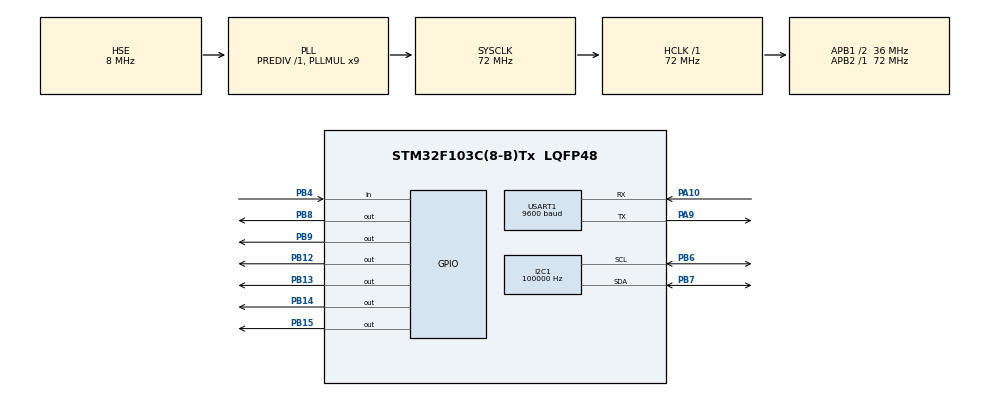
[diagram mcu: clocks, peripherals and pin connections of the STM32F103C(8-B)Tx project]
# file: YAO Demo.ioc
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I2C1.ClockSpeed=100000
I2C1.I2C_Mode=I2C_Fast
Mcu.Family=STM32F1
Mcu.Name=STM32F103C(8-B)Tx
Mcu.Package=LQFP48
NVIC.PriorityGroup=NVIC_PRIORITYGROUP_4
NVIC.USART1_IRQn=true\:0\:0\:false\:false\:true\:true\:true\:true
PA10.Mode=Asynchronous
PA10.Signal=USART1_RX
PA13.Mode=Serial_Wire
PA13.Signal=SYS_JTMS-SWDIO
PA14.Mode=Serial_Wire
PA14.Signal=SYS_JTCK-SWCLK
PA9.Mode=Asynchronous
PA9.Signal=USART1_TX
PB12.GPIO_PuPd=GPIO_PULLUP
PB12.GPIO_Speed=GPIO_SPEED_FREQ_HIGH
PB12.PinState=GPIO_PIN_SET
PB12.Signal=GPIO_Output
PB13.GPIO_PuPd=GPIO_PULLUP
PB13.GPIO_Speed=GPIO_SPEED_FREQ_HIGH
PB13.PinState=GPIO_PIN_SET
PB13.Signal=GPIO_Output
PB14.GPIO_PuPd=GPIO_PULLUP
PB14.GPIO_Speed=GPIO_SPEED_FREQ_HIGH
PB14.PinState=GPIO_PIN_SET
PB14.Signal=GPIO_Output
PB15.GPIO_PuPd=GPIO_PULLUP
PB15.GPIO_Speed=GPIO_SPEED_FREQ_HIGH
PB15.PinState=GPIO_PIN_SET
PB15.Signal=GPIO_Output
PB4.GPIO_PuPd=GPIO_PULLUP
PB4.Signal=GPIO_Input
PB6.Mode=I2C
PB6.Signal=I2C1_SCL
PB7.Mode=I2C
PB7.Signal=I2C1_SDA
PB8.PinState=GPIO_PIN_RESET
PB8.Signal=GPIO_Output
PB9.PinState=GPIO_PIN_SET
PB9.Signal=GPIO_Output
PC14-OSC32_IN.Mode=LSE-External-Oscillator
PC14-OSC32_IN.Signal=RCC_OSC32_IN
PC15-OSC32_OUT.Mode=LSE-External-Oscillator
PC15-OSC32_OUT.Signal=RCC_OSC32_OUT
PD0-OSC_IN.Mode=HSE-External-Oscillator
PD0-OSC_IN.Signal=RCC_OSC_IN
PD1-OSC_OUT.Mode=HSE-External-Oscillator
PD1-OSC_OUT.Signal=RCC_OSC_OUT
ProjectManager.HeapSize=0x200
ProjectManager.StackSize=0x400
ProjectManager.TargetToolchain=MDK-ARM V5.32
RCC.AHBFreq_Value=72000000
RCC.APB1CLKDivider=RCC_HCLK_DIV2
RCC.APB1Freq_Value=36000000
RCC.APB1TimFreq_Value=72000000
RCC.APB2Freq_Value=72000000
RCC.APB2TimFreq_Value=72000000
RCC.HCLKFreq_Value=72000000
RCC.PLLMUL=RCC_PLL_MUL9
RCC.PLLSourceVirtual=RCC_PLLSOURCE_HSE
RCC.SYSCLKFreq_VALUE=72000000
RCC.SYSCLKSource=RCC_SYSCLKSOURCE_PLLCLK
RCC.USBFreq_Value=72000000
TIM2.Prescaler=71
USART1.BaudRate=9600
USART1.VirtualMode=VM_ASYNC
VP_TIM2_VS_ClockSourceINT.Mode=Internal
board=custom

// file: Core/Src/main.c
/* USER CODE BEGIN Header */
/**
  ******************************************************************************
  * @file           : main.c
  * @brief          : Main program body
  ******************************************************************************
  * @attention
  *
  * Copyright (c) 2026 STMicroelectronics.
  * All rights reserved.
  *
  * This software is licensed under terms that can be found in the LICENSE file
  * in the root directory of this software component.
  * If no LICENSE file comes with this software, it is provided AS-IS.
  *
  ******************************************************************************
  */
/* USER CODE END Header */
#include "main.h"
#include "i2c.h"
#include "tim.h"
#include "usart.h"
#include "gpio.h"

/* USER CODE BEGIN Includes */
#include "buzzer.h"
#include "mpu6050.h"
#include "math.h"
#include "i2c.h"
#include "oled_ssd1315.h"
#include "stdio.h"
#include "usart.h"
/* USER CODE END Includes */

/* USER CODE BEGIN PD */
#define ANGLE_MAX  45.0f

enum {
    FRAME_HEAD = 0,
    TEMP = 1,
    HUMIDITY = 2,
    ANGLE = 3,
    LIGHT = 4,
    KETING_LIGHT = 5,
    WOSHI_LIGHT = 6,
    KONGTIAO_STA = 7,
    ALARM_STA = 8,
    FRAME_TAIL = 9
};
/* USER CODE END PD */

/* USER CODE BEGIN PV */
float pitch, roll;
uint8_t report_dat[10] = {0};
static uint8_t recv_buffer[10];
static uint8_t recv_index = 0;
static uint8_t recv_state = 0;

/* USER CODE END PV */

void SystemClock_Config(void);

/* USER CODE BEGIN 0 */

void uart_recv_byte(uint8_t dat)
{
    switch(recv_state)
    {
        case 0:
            if(dat == 0xff)
            {
                recv_state = 1;
                recv_index = 0;
                recv_buffer[recv_index++] = dat;
            }
            break;
        case 1:
            recv_buffer[recv_index++] = dat;
            if(recv_index >= 10)
            {
                if(recv_buffer[9] == 0xaa)
                {
                    uint8_t cmd = recv_buffer[1];
                    switch(cmd)
                    {
                        case 0x02:
                            HAL_GPIO_WritePin(GPIOB, GPIO_PIN_12, GPIO_PIN_RESET);
                            report_dat[KETING_LIGHT] = 0;
                            break;
                        case 0x03:
                            HAL_GPIO_WritePin(GPIOB, GPIO_PIN_12, GPIO_PIN_SET);
                            report_dat[KETING_LIGHT] = 1;
                            break;
                        case 0x04:
                            HAL_GPIO_WritePin(GPIOB, GPIO_PIN_13, GPIO_PIN_RESET);
                            report_dat[WOSHI_LIGHT] = 0;
                            break;
                        case 0x05:
                            HAL_GPIO_WritePin(GPIOB, GPIO_PIN_13, GPIO_PIN_SET);
                            report_dat[WOSHI_LIGHT] = 1;
                            break;
                        case 0x06:
                            HAL_GPIO_WritePin(GPIOB, GPIO_PIN_14, GPIO_PIN_RESET);
                            report_dat[KONGTIAO_STA] = 0;
                            break;
                        case 0x07:
                            HAL_GPIO_WritePin(GPIOB, GPIO_PIN_14, GPIO_PIN_SET);
                            report_dat[KONGTIAO_STA] = 1;
                            break;
                        case 0x08:
                            HAL_GPIO_WritePin(GPIOB, GPIO_PIN_15, GPIO_PIN_RESET);
                            report_dat[ALARM_STA] = 0;
                            break;
                        case 0x09:
                            HAL_GPIO_WritePin(GPIOB, GPIO_PIN_15, GPIO_PIN_SET);
                            report_dat[ALARM_STA] = 1;
                            break;
                    }
                }
                recv_state = 0;
                recv_index = 0;
            }
            break;
    }
}

void send_report_frame(void)
{
    report_dat[FRAME_HEAD] = 0xff;
    report_dat[TEMP] = 0x00;
    report_dat[HUMIDITY] = 0x00;
    report_dat[LIGHT] = 0x00;
    report_dat[FRAME_TAIL] = 0xaa;

    HAL_UART_Transmit(&huart1, report_dat, 10, 100);
}

/* USER CODE END 0 */

int main(void)
{

  /* MCU Configuration--------------------------------------------------------*/

  /* Reset of all peripherals, Initializes the Flash interface and the Systick. */
  HAL_Init();

  /* Configure the system clock */
  SystemClock_Config();

  /* Initialize all configured peripherals */
  MX_GPIO_Init();
  MX_I2C1_Init();
  MX_TIM2_Init();
  MX_USART1_UART_Init();
  /* USER CODE BEGIN 2 */
  uint8_t mpu_init_ret;

  Buzzer_Init();
  OLED_SSD1315_Init();

  OLED_SSD1315_full(0x00);
  OLED_SSD1315_ShowString(0, 0, (uint8_t*)"Init MPU6050...", 8);
  HAL_Delay(100);

  mpu_init_ret = MPU6050_Init();

  OLED_SSD1315_full(0x00);
  if(mpu_init_ret == 0)
      OLED_SSD1315_ShowString(0, 0, (uint8_t*)"MPU6050 OK!", 8);
  else
  {
      char err_buf[20];
      sprintf(err_buf, "MPU Err: %d", mpu_init_ret);
      OLED_SSD1315_ShowString(0, 0, (uint8_t*)err_buf, 8);
  }
  HAL_Delay(500);

  HAL_GPIO_WritePin(GPIOB, GPIO_PIN_12, GPIO_PIN_RESET);
  HAL_GPIO_WritePin(GPIOB, GPIO_PIN_13, GPIO_PIN_RESET);
  HAL_GPIO_WritePin(GPIOB, GPIO_PIN_14, GPIO_PIN_RESET);
  HAL_GPIO_WritePin(GPIOB, GPIO_PIN_15, GPIO_PIN_RESET);

  report_dat[KETING_LIGHT] = 0;
  report_dat[WOSHI_LIGHT] = 0;
  report_dat[KONGTIAO_STA] = 0;
  report_dat[ALARM_STA] = 0;
  /* USER CODE END 2 */

  /* Infinite loop */
  while (1)
  {

    /* USER CODE BEGIN 3 */
    char buf[30];
    float ax, ay, az;
    HAL_StatusTypeDef ret;
    uint8_t raw_buf[6];
    uint8_t recv_data;

    ret = HAL_I2C_Mem_Read(&hi2c1, MPU6050_ADDR, ACCEL_XOUT_H, 1, raw_buf, 6, 100);

    if(ret == HAL_OK)
    {
        int16_t raw_ax = (raw_buf[0] << 8) | raw_buf[1];
        int16_t raw_ay = (raw_buf[2] << 8) | raw_buf[3];
        int16_t raw_az = (raw_buf[4] << 8) | raw_buf[5];
        ax = raw_ax / 16384.0f;
        ay = raw_ay / 16384.0f;
        az = raw_az / 16384.0f;
    }
    else
    {
        ax = ay = az = 0.0f;
    }

    pitch = atan2(ay, sqrt(ax*ax + az*az)) * 57.2958f;
    roll  = atan2(-ax, sqrt(ay*ay + az*az)) * 57.2958f;

    if(fabs(pitch) > ANGLE_MAX || fabs(roll) > ANGLE_MAX)
    {
        Buzzer_On();
        report_dat[ANGLE] = 45;
    }
    else
    {
        Buzzer_Off();
        report_dat[ANGLE] = 0;
    }

    OLED_SSD1315_full(0x00);

    sprintf(buf, "P:%.1f", pitch);
    OLED_SSD1315_ShowString(0, 0, (uint8_t*)buf, 8);

    sprintf(buf, "R:%.1f", roll);
    OLED_SSD1315_ShowString(48, 0, (uint8_t*)buf, 8);

    sprintf(buf, "ANG:%d", report_dat[ANGLE]);
    OLED_SSD1315_ShowString(0, 2, (uint8_t*)buf, 8);

    sprintf(buf, "KL%d WL%d", report_dat[KETING_LIGHT], report_dat[WOSHI_LIGHT]);
    OLED_SSD1315_ShowString(0, 4, (uint8_t*)buf, 8);

    sprintf(buf, "AC%d AL%d", report_dat[KONGTIAO_STA], report_dat[ALARM_STA]);
    OLED_SSD1315_ShowString(0, 5, (uint8_t*)buf, 8);

    send_report_frame();

    if(HAL_UART_Receive(&huart1, &recv_data, 1, 10) == HAL_OK)
    {
        uart_recv_byte(recv_data);
    }

    HAL_Delay(100);
  }
  /* USER CODE END 3 */
}

void SystemClock_Config(void)
{
  RCC_OscInitTypeDef RCC_OscInitStruct = {0};
  RCC_ClkInitTypeDef RCC_ClkInitStruct = {0};

  /** Initializes the RCC Oscillators according to the specified parameters
  * in the RCC_OscInitTypeDef structure.
  */
  RCC_OscInitStruct.OscillatorType = RCC_OSCILLATORTYPE_HSE;
  RCC_OscInitStruct.HSEState = RCC_HSE_ON;
  RCC_OscInitStruct.HSEPredivValue = RCC_HSE_PREDIV_DIV1;
  RCC_OscInitStruct.HSIState = RCC_HSI_ON;
  RCC_OscInitStruct.PLL.PLLState = RCC_PLL_ON;
  RCC_OscInitStruct.PLL.PLLSource = RCC_PLLSOURCE_HSE;
  RCC_OscInitStruct.PLL.PLLMUL = RCC_PLL_MUL9;
  if (HAL_RCC_OscConfig(&RCC_OscInitStruct) != HAL_OK)
  {
    Error_Handler();
  }

  /** Initializes the CPU, AHB and APB buses clocks
  */
  RCC_ClkInitStruct.ClockType = RCC_CLOCKTYPE_HCLK|RCC_CLOCKTYPE_SYSCLK
                              |RCC_CLOCKTYPE_PCLK1|RCC_CLOCKTYPE_PCLK2;
  RCC_ClkInitStruct.SYSCLKSource = RCC_SYSCLKSOURCE_PLLCLK;
  RCC_ClkInitStruct.AHBCLKDivider = RCC_SYSCLK_DIV1;
  RCC_ClkInitStruct.APB1CLKDivider = RCC_HCLK_DIV2;
  RCC_ClkInitStruct.APB2CLKDivider = RCC_HCLK_DIV1;

  if (HAL_RCC_ClockConfig(&RCC_ClkInitStruct, FLASH_LATENCY_2) != HAL_OK)
  {
    Error_Handler();
  }
}

void Error_Handler(void)
{
  __disable_irq();
  while (1)
  {
  }
}
